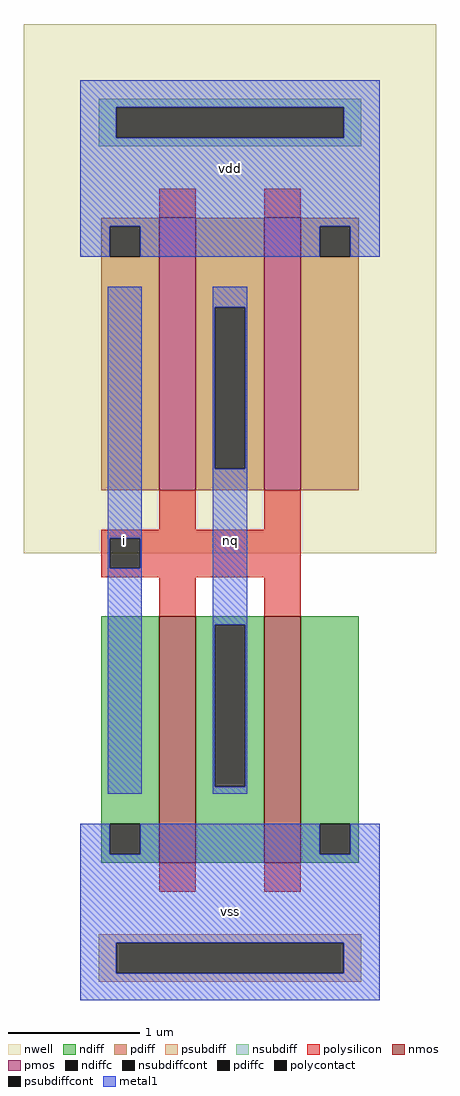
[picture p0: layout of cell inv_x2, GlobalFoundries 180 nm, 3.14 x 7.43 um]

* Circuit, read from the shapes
.subckt inv_x2 vss vdd nq i
XM1 nq i vss vss nfet_03v3 w=1.875u l=0.28u m=2
XM2 nq i vdd vdd pfet_03v3 w=2.075u l=0.28u m=2
.ends

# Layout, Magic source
magic
tech gf180mcuD
magscale 1 10
<< nwell >>
rect -86 680 542 1486
<< nmos >>
rect 120 209 176 584
rect 280 209 336 584
<< pmos >>
rect 120 776 176 1191
rect 280 776 336 1191
<< ndiff >>
rect 32 268 120 584
rect 32 222 45 268
rect 91 222 120 268
rect 32 209 120 222
rect 176 571 280 584
rect 176 325 205 571
rect 251 325 280 571
rect 176 209 280 325
rect 336 268 424 584
rect 336 222 365 268
rect 411 222 424 268
rect 336 209 424 222
<< pdiff >>
rect 32 1178 120 1191
rect 32 1132 45 1178
rect 91 1132 120 1178
rect 32 776 120 1132
rect 176 1055 280 1191
rect 176 809 205 1055
rect 251 809 280 1055
rect 176 776 280 809
rect 336 1178 424 1191
rect 336 1132 365 1178
rect 411 1132 424 1178
rect 336 776 424 1132
<< ndiffc >>
rect 45 222 91 268
rect 205 325 251 571
rect 365 222 411 268
<< pdiffc >>
rect 45 1132 91 1178
rect 205 809 251 1055
rect 365 1132 411 1178
<< psubdiff >>
rect 28 87 428 100
rect 28 41 55 87
rect 401 41 428 87
rect 28 28 428 41
<< nsubdiff >>
rect 28 1359 428 1372
rect 28 1313 55 1359
rect 401 1313 428 1359
rect 28 1300 428 1313
<< psubdiffcont >>
rect 55 41 401 87
<< nsubdiffcont >>
rect 55 1313 401 1359
<< polysilicon >>
rect 120 1191 176 1235
rect 280 1191 336 1235
rect 120 716 176 776
rect 280 716 336 776
rect 32 703 336 716
rect 32 657 45 703
rect 91 657 336 703
rect 32 644 336 657
rect 120 584 176 644
rect 280 584 336 644
rect 120 165 176 209
rect 280 165 336 209
<< polycontact >>
rect 45 657 91 703
<< metal1 >>
rect 0 1359 456 1400
rect 0 1313 55 1359
rect 401 1313 456 1359
rect 0 1178 456 1313
rect 0 1132 45 1178
rect 91 1132 365 1178
rect 411 1132 456 1178
rect 42 703 94 1086
rect 42 657 45 703
rect 91 657 94 703
rect 42 314 94 657
rect 202 1055 254 1086
rect 202 809 205 1055
rect 251 809 254 1055
rect 202 571 254 809
rect 202 325 205 571
rect 251 325 254 571
rect 202 314 254 325
rect 0 222 45 268
rect 91 222 365 268
rect 411 222 456 268
rect 0 87 456 222
rect 0 41 55 87
rect 401 41 456 87
rect 0 0 456 41
<< labels >>
rlabel metal1 s 0 0 456 268 4 vss
port 3 nsew
rlabel metal1 s 0 1132 456 1400 4 vdd
port 5 nsew
rlabel metal1 s 202 314 254 1086 4 nq
port 7 nsew
rlabel metal1 s 42 314 94 1086 4 i
port 9 nsew
<< end >>
